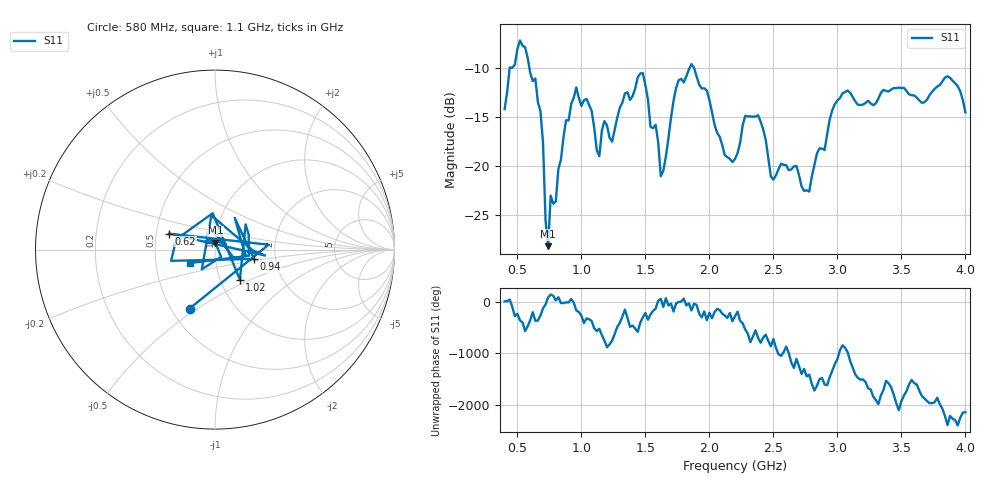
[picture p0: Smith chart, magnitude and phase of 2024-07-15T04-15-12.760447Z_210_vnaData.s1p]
!Created with skrf (http://scikit-rf.org).
# Hz S RI R 50.0
!freq ReS11 ImS11
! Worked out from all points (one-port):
!   181 points, 400 MHz to 4 GHz, reference 50 ohm
!   lowest |S11| = -28.1 dB at 740 MHz (marker M1), VSWR 1.08, Z = 50.1 + j3.93 ohm
!   |S11| at or under -10 dB: start of sweep to 439.4 MHz; 594 MHz to 1.844 GHz (1.25 GHz wide, 103 % of centre); 1.881 GHz to end of sweep
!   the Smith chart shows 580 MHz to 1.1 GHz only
!   S11 on the Smith chart (normalised r, x): 580 MHz: 0.62, -0.47; 620 MHz: 0.58, +0.11; 940 MHz: 1.54, -0.17; 1.02 GHz: 1.24, -0.43; 1.1 GHz: 0.75, -0.11
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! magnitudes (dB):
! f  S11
! 400 MHz  -14.2
! 520 MHz  -7.2
! 580 MHz  -8.9
! 620 MHz  -11.3
! 680 MHz  -14.4
! 740 MHz  -28.1
! 760 MHz  -23.0
! 800 MHz  -23.6
! 860 MHz  -17.0
! 940 MHz  -13.0
! 1.02 GHz  -13.3
! 1.1 GHz  -16.1
! 1.14 GHz  -19.0
! 1.3 GHz  -14.0
! 1.48 GHz  -10.5
! 1.62 GHz  -21.0
! 1.76 GHz  -11.2
! 1.86 GHz  -9.6
! 2.2 GHz  -19.2
! 2.38 GHz  -14.8
! 2.48 GHz  -21.0
! 2.66 GHz  -20.0
! 2.78 GHz  -22.6
! 2.96 GHz  -14.3
! 3.1 GHz  -12.5
! 3.56 GHz  -12.7
! 3.86 GHz  -10.8
! 4 GHz  -14.5
